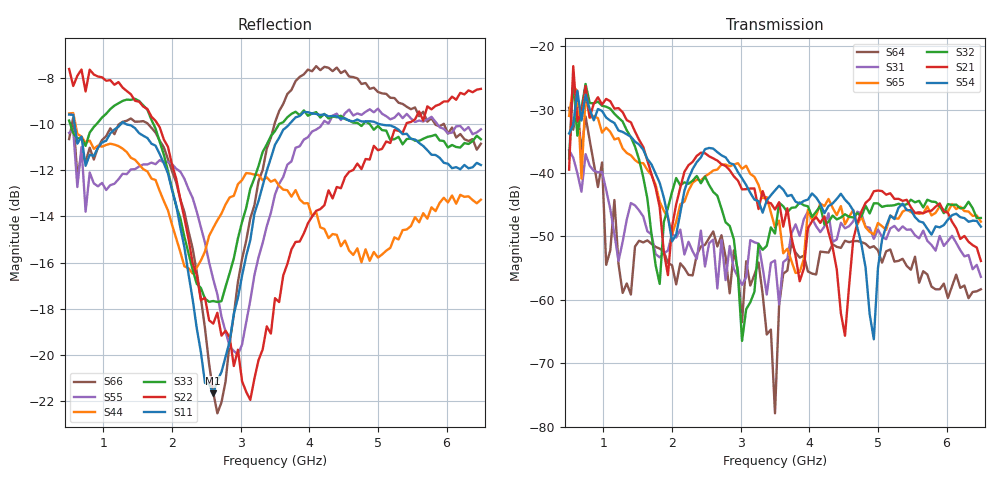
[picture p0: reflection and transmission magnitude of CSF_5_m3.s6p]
!Keysight Technologies,M9804A,MY58100912,A.14.10.03
!Date: Thursday, April 27, 2023 10:28:33
!Correction: S11(C  6-Port  )
!S12(C  6-Port  )
!S13(C  6-Port  )
!S14(C  6-Port  )
!S15(C  6-Port  )
!S16(C  6-Port  )
!S21(C  6-Port  )
!S22(C  6-Port  )
!S23(C  6-Port  )
!S24(C  6-Port  )
!S25(C  6-Port  )
!S26(C  6-Port  )
!S31(C  6-Port  )
!S32(C  6-Port  )
!S33(C  6-Port  )
!S34(C  6-Port  )
!S35(C  6-Port  )
!S36(C  6-Port  )
!S41(C  6-Port  )
!S42(C  6-Port  )
!S43(C  6-Port  )
!S44(C  6-Port  )
!S45(C  6-Port  )
!S46(C  6-Port  )
!S51(C  6-Port  )
!S52(C  6-Port  )
!S53(C  6-Port  )
!S54(C  6-Port  )
!S55(C  6-Port  )
!S56(C  6-Port  )
!S61(C  6-Port  )
!S62(C  6-Port  )
!S63(C  6-Port  )
!S64(C  6-Port  )
!S65(C  6-Port  )
!S66(C  6-Port  )
!S6P File: Measurement: :
# Hz S  RI  R 50
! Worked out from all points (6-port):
!   101 points, 500 MHz to 6.5 GHz, reference 50 ohm
!   strongest paths, dB at 500 MHz, 2 GHz, 3.5 GHz, 5 GHz, 6.5 GHz:
!     S54: -33.8, -50.8, -42.7, -55.0, -48.5
!     S21: -39.5, -48.5, -45.8, -42.8, -53.9
!     S32: -37.7, -43.0, -49.5, -44.8, -47.1
!     S65: -31.0, -49.7, -48.6, -47.9, -47.7
!     S31: -36.4, -49.6, -53.8, -48.9, -56.4
!     S64: -29.7, -54.5, -77.9, -52.2, -58.3
!   lowest |S11| = -21.7 dB at 2.6 GHz (marker M1), VSWR 1.18, Z = 42.6 + j2.05 ohm
!   |S11| at or under -10 dB: 578.7 MHz to 1.257 GHz (678.5 MHz wide, 73.9 % of centre); 1.323 GHz to 3.714 GHz (2.39 GHz wide, 94.9 % of centre); 5.01 GHz to end of sweep
